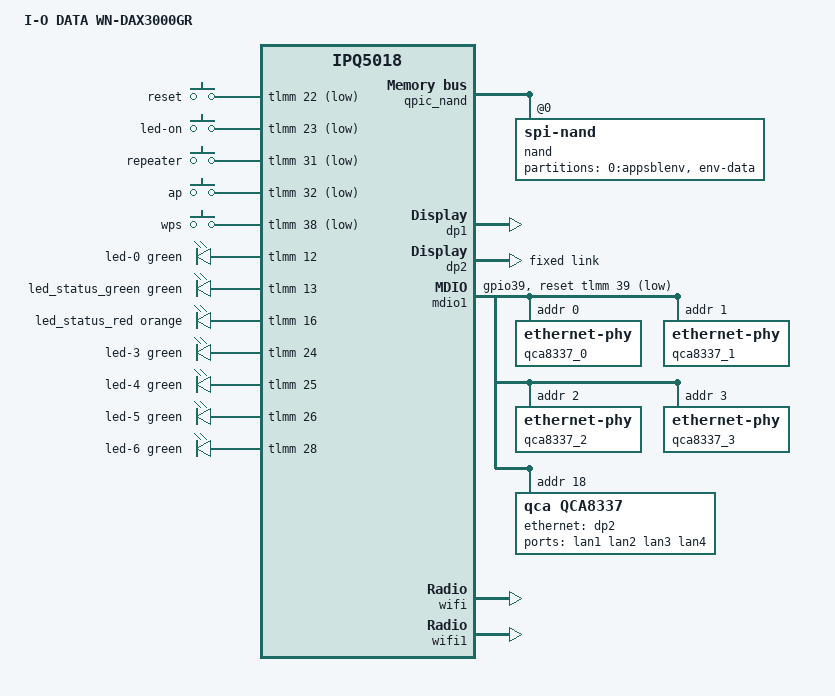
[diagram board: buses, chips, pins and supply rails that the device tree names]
// SPDX-License-Identifier: GPL-2.0-or-later OR MIT

/dts-v1/;

#include "ipq5018.dtsi"
#include "ipq5018-ess.dtsi"
#include "ipq5018-nss.dtsi"
#include "ipq5018-common.dtsi"

#include <dt-bindings/gpio/gpio.h>
#include <dt-bindings/input/input.h>
#include <dt-bindings/leds/common.h>

/ {
	model = "I-O DATA WN-DAX3000GR";
	compatible = "iodata,wn-dax3000gr", "qcom,ipq5018";

	aliases {
		serial0 = &blsp1_uart1;
		led-boot = &led_status_green;
		led-failsafe = &led_status_red;
		led-running = &led_status_green;
		led-upgrade = &led_status_green;
		label-mac-device = <&dp1>;
	};

	chosen {
		stdout-path = "serial0:115200n8";
		bootargs-append = " root=/dev/ubiblock0_1";
	};

	keys {
		compatible = "gpio-keys";

		button-reset {
			label = "reset";
			gpios = <&tlmm 22 GPIO_ACTIVE_LOW>;
			linux,code = <KEY_RESTART>;
		};

		switch-led-on {
			label = "led-on";
			gpios = <&tlmm 23 GPIO_ACTIVE_LOW>;
			linux,code = <BTN_0>;
			linux,input-type = <EV_SW>;
		};

		switch-repeater {
			label = "repeater";
			gpios = <&tlmm 31 GPIO_ACTIVE_LOW>;
			linux,code = <BTN_1>;
			linux,input-type = <EV_SW>;
		};

		switch-ap {
			label = "ap";
			gpios = <&tlmm 32 GPIO_ACTIVE_LOW>;
			linux,code = <BTN_2>;
			linux,input-type = <EV_SW>;
		};

		button-wps {
			label = "wps";
			gpios = <&tlmm 38 GPIO_ACTIVE_LOW>;
			linux,code = <KEY_WPS_BUTTON>;
		};
	};

	leds {
		compatible = "gpio-leds";

		led-0 {
			gpios = <&tlmm 12 GPIO_ACTIVE_HIGH>;
			color = <LED_COLOR_ID_GREEN>;
			function = LED_FUNCTION_WPS;
		};

		led_status_green: status-green {
			gpios = <&tlmm 13 GPIO_ACTIVE_HIGH>;
			color = <LED_COLOR_ID_GREEN>;
			function = LED_FUNCTION_STATUS;
		};

		led_status_red: status-red {
			gpios = <&tlmm 16 GPIO_ACTIVE_HIGH>;
			color = <LED_COLOR_ID_ORANGE>;
			function = LED_FUNCTION_STATUS;
		};

		led-3 {
			gpios = <&tlmm 24 GPIO_ACTIVE_HIGH>;
			color = <LED_COLOR_ID_GREEN>;
			function = LED_FUNCTION_WAN_ONLINE;
		};

		led-4 {
			gpios = <&tlmm 25 GPIO_ACTIVE_HIGH>;
			color = <LED_COLOR_ID_GREEN>;
			function = "router";
		};

		led-5 {
			gpios = <&tlmm 26 GPIO_ACTIVE_HIGH>;
			color = <LED_COLOR_ID_GREEN>;
			function = LED_FUNCTION_POWER;
			default-state = "on";
		};

		led-6 {
			gpios = <&tlmm 28 GPIO_ACTIVE_HIGH>;
			color = <LED_COLOR_ID_GREEN>;
			function = LED_FUNCTION_WAN;
		};
	};
};

&qpic_nand {
	status = "okay";

	pinctrl-0 = <&qpic_pins>;
	pinctrl-names = "default";

	nand@0 {
		compatible = "spi-nand";
		reg = <0>;

		nand-ecc-engine = <&qpic_nand>;
		nand-ecc-strength = <4>;
		nand-ecc-step-size = <512>;
		nand-bus-width = <8>;

		partitions {
			compatible = "qcom,smem-part";
			#address-cells = <1>;
			#size-cells = <1>;

			partition-0-appsblenv {
				compatible = "fixed-partitions";
				#address-cells = <1>;
				#size-cells = <1>;

				label = "0:appsblenv";

				partition@0 {
					label = "env-data";
					reg = <0x00000000 0x00040000>;

					nvmem-layout {
						compatible = "u-boot,env";
						#address-cells = <1>;
						#size-cells = <1>;

						macaddr_appsblenv_ethaddr: ethaddr {
							compatible = "mac-base";
							#nvmem-cell-cells = <1>;
						};
					};
				};
			};
		};
	};
};

&dp1 {
	status = "okay";

	label = "wan";
	nvmem-cells = <&macaddr_appsblenv_ethaddr 2>;
	nvmem-cell-names = "mac-address";
};

&dp2 {
	status = "okay";

	nvmem-cells = <&macaddr_appsblenv_ethaddr 0>;
	nvmem-cell-names = "mac-address";

	fixed-link {
		speed = <1000>;
		full-duplex;
	};
};

&mdio1 {
	status = "okay";

	pinctrl-0 = <&mdio1_pins>, <&switch_reset_pins>;
	pinctrl-names = "default";
	reset-gpios = <&tlmm 39 GPIO_ACTIVE_LOW>;

	qca8337_0: ethernet-phy@0 {
		reg = <0>;
	};

	qca8337_1: ethernet-phy@1 {
		reg = <1>;
	};

	qca8337_2: ethernet-phy@2 {
		reg = <2>;
	};

	qca8337_3: ethernet-phy@3 {
		reg = <3>;
	};

	qca8337: ethernet-switch@18 {
		compatible = "qca,qca8337";
		#address-cells = <1>;
		#size-cells = <0>;
		reg = <18>;

		ports {
			#address-cells = <1>;
			#size-cells = <0>;

			port@1 {
				reg = <1>;
				label = "lan1";
				phy-handle = <&qca8337_0>;
			};

			port@2 {
				reg = <2>;
				label = "lan2";
				phy-handle = <&qca8337_1>;
			};

			port@3 {
				reg = <3>;
				label = "lan3";
				phy-handle = <&qca8337_2>;
			};

			port@4 {
				reg = <4>;
				label = "lan4";
				phy-handle = <&qca8337_3>;
			};

			port@6 {
				reg = <6>;
				phy-mode = "sgmii";
				ethernet = <&dp2>;
				qca,sgmii-enable-pll;

				fixed-link {
					speed = <1000>;
					full-duplex;
				};
			};
		};
	};
};

&tlmm {
	switch_reset_pins: switch-reset-pins {
		pins = "gpio39";
		function = "gpio";
		drive-strength = <8>;
		bias-pull-down;
	};
};

&q6v5_wcss {
	boot-args = <0x02 0x04 0x02 0x12 0x00 0x00>;
};

&wifi {
	status = "okay";

	qcom,rproc = <&q6_wcss_pd1>;
	qcom,userpd-subsys-name = "q6v5_wcss_userpd1";
	qcom,ath11k-calibration-variant = "IODATA-WN-DAX3000GR";
};

&wifi1 {
	status = "okay";

	qcom,rproc = <&q6_wcss_pd2>;
	qcom,userpd-subsys-name = "q6v5_wcss_userpd2";
	qcom,ath11k-calibration-variant = "IODATA-WN-DAX3000GR";
};
